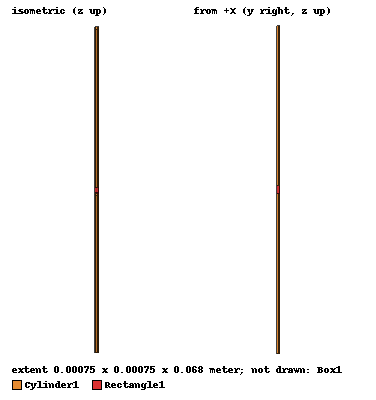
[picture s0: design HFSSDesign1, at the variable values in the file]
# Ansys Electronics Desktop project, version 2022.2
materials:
  vacuum: permittivity=1
  copper: permeability=0.999991 conductivity=58000000
  air: permittivity=1.0006 permeability=1.0000004

design HFSSDesign1 (HFSS, DrivenModal, model units meter)
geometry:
  Cylinder1 [copper] = cylinder(axis=Z, base_centre=(0meter, 0meter, (-0.068/2) meter), radius=0.000375meter, height=0.068meter)
  Cylinder2 = cylinder(axis=Z, base_centre=(0meter, 0meter, (-0.000375*2) meter), radius=0.000375meter, height=(0.000375*4) meter)
  Cylinder1.subtract(Cylinder2)
  Rectangle1 = rectangle(corner=(0meter, -0.000375meter, 0.00075meter), y_size=0.00075meter, z_size=-0.0015meter)
  Box1 [air] = box(corner=(-0.1meter, -0.1meter, -0.1meter), size=(0.2meter, 0.2meter, 0.2meter))
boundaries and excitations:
  Rad1: Radiation Objects=Box1
  1: Lumped Port Objects=Rectangle1 Modes{Mode1{IntLine{(0, 0, -0.00075) -> (0, 0, 0.00075)} CharImp=Zpi RenormImp=50ohm}} Impedance=50ohm
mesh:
  initial mesh: GlobalSurfApproximation{CurvedSurfaceApproxChoice=UseSlider SliderMeshSettings=1}
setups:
  Setup1: HfssDriven Frequency=2GHz MaxDeltaS=0.02 MaximumPasses=15 MinimumPasses=1 MinimumConvergedPasses=1 PercentRefinement=30 BasisOrder=1 PortAccuracy=2 DrivenSolverType="Direct Solver"
    sweep Sweep: 1GHz to 3GHz, 401 points; Type=Fast SaveFields
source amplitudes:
  1:1: 1W 0deg
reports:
  S Parameter Plot 1: dB(S(1,1)) vs Freq on Setup1 : Sweep; markers m1 at 2.025GHz
